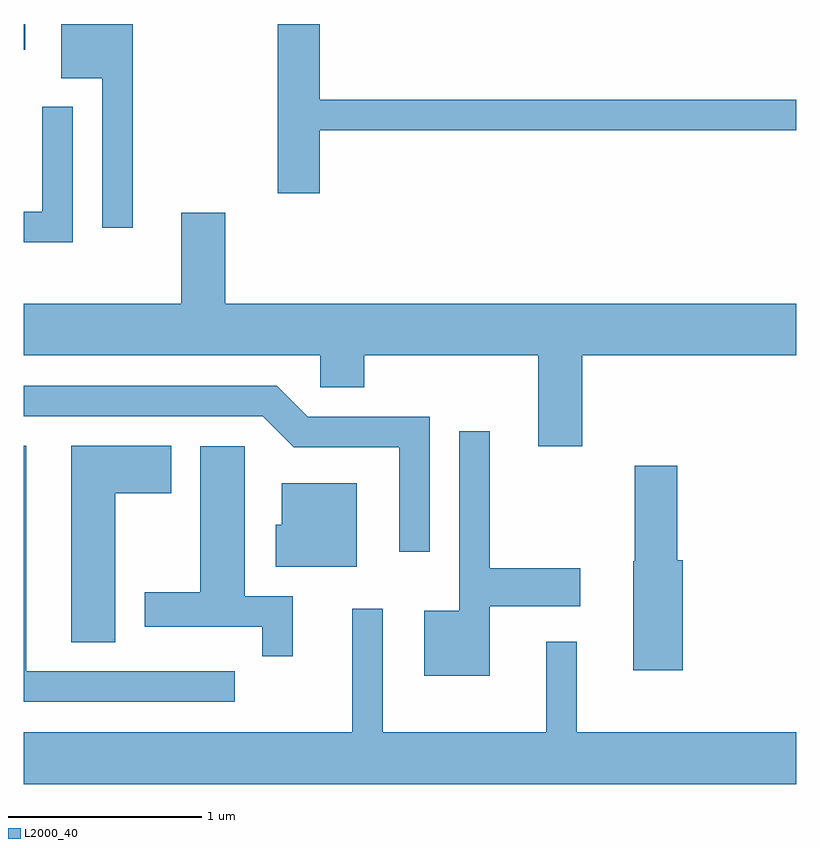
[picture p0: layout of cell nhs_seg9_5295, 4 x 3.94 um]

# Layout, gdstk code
import gdstk
lib = gdstk.Library(unit=1e-6, precision=1e-09)
def R(c, l, rs):  # rectangles x0, y0, x1, y1
    for r in rs: c.add(gdstk.rectangle(r[:2], r[2:], *l))
def P(c, l, *ps):  # polygons
    for p in ps: c.add(gdstk.Polygon(p, *l))
L2000_40 = (2000, 40)

nhs_seg9_5295 = lib.new_cell('nhs_seg9_5295')
R(nhs_seg9_5295, L2000_40, [(341.611,1982.298,341.619,1982.432)])
P(nhs_seg9_5295, L2000_40, [(343.144,1981.881),(345.611,1981.881),(345.611,1982.039),(343.144,1982.039),(343.144,1982.432),(342.926,1982.432),(342.926,1981.556),(343.144,1981.556)],
  [(342.174,1982.432),(341.806,1982.432),(341.806,1982.151),(342.016,1982.151),(342.016,1981.378),(342.174,1981.378)],
  [(341.864,1982.003),(341.706,1982.003),(341.706,1981.459),(341.611,1981.459),(341.611,1981.301),(341.864,1981.301)],
  [(344.504,1980.716),(345.611,1980.716),(345.611,1980.984),(342.654,1980.984),(342.654,1981.454),(342.426,1981.454),(342.426,1980.984),(341.611,1980.984),(341.611,1980.716),(343.146,1980.716),(343.146,1980.551),(343.374,1980.551),(343.374,1980.716),(344.276,1980.716),(344.276,1980.246),(344.504,1980.246)],
  [(343.714,1980.399),(343.082,1980.399),(342.922,1980.559),(341.611,1980.559),(341.611,1980.401),(342.849,1980.401),(343.009,1980.241),(343.556,1980.241),(343.556,1979.698),(343.714,1979.698)],
  [(344.024,1979.416),(344.494,1979.416),(344.494,1979.614),(344.024,1979.614),(344.024,1980.323),(343.866,1980.323),(343.866,1979.394),(343.686,1979.394),(343.686,1979.056),(344.024,1979.056)],
  [(342.703,1979.079),(341.624,1979.079),(341.624,1980.249),(341.611,1980.249),(341.611,1978.921),(342.703,1978.921)],
  [(342.084,1980.001),(342.374,1980.001),(342.374,1980.249),(341.856,1980.249),(341.856,1979.231),(342.084,1979.231)],
  [(343.004,1979.469),(342.754,1979.469),(342.754,1980.244),(342.526,1980.244),(342.526,1979.489),(342.236,1979.489),(342.236,1979.311),(342.846,1979.311),(342.846,1979.158),(343.004,1979.158)],
  [(345.024,1979.654),(344.994,1979.654),(344.994,1980.144),(344.776,1980.144),(344.776,1979.65),(344.766,1979.65),(344.766,1979.086),(345.024,1979.086)],
  [(343.334,1980.054),(342.946,1980.054),(342.946,1979.839),(342.916,1979.839),(342.916,1979.621),(343.334,1979.621)],
  [(345.611,1978.764),(344.474,1978.764),(344.474,1979.233),(344.316,1979.233),(344.316,1978.764),(343.469,1978.764),(343.469,1979.403),(343.311,1979.403),(343.311,1978.764),(341.611,1978.764),(341.611,1978.496),(345.611,1978.496)])

lib.write_gds('nhs_seg9_5295.gds')
